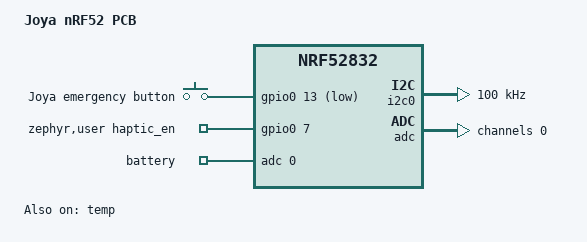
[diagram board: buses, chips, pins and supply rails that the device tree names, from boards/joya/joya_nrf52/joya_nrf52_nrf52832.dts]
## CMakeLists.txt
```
cmake_minimum_required(VERSION 3.20.0)

list(APPEND BOARD_ROOT ${CMAKE_CURRENT_SOURCE_DIR})

# Inicialize Zephyr build system
find_package(Zephyr REQUIRED HINTS $ENV{ZEPHYR_BASE})

# Project name and version
project(
    joya_phone_connection_fw
    VERSION 2.0
    DESCRIPTION "Firmware for Joya controller with modular architecture"
)

# Source files for the application
target_sources(app PRIVATE 
    src/main.c
    src/app_comm.c
    src/app_state.c
    src/ble_driver.c
    src/button.c
    src/haptics.c
    src/flash_memory.c
    src/battery.c
)

# Include directories for the application
target_include_directories(app PRIVATE include)
```

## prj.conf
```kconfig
# ==================================================
# GPIO CORE
# ==================================================
CONFIG_GPIO=y
CONFIG_ADC=y

# ==================================================
# I2C CORE
# ==================================================
CONFIG_I2C=y

# ==================================================
# LOGGING / CONSOLE DISABLED
# ==================================================
CONFIG_LOG=n
CONFIG_PRINTK=n
CONFIG_CONSOLE=n
CONFIG_EARLY_CONSOLE=n
CONFIG_BOOT_BANNER=n

CONFIG_UART_CONSOLE=n
CONFIG_RTT_CONSOLE=n

CONFIG_LOG_BACKEND_RTT=n
CONFIG_LOG_BACKEND_UART=n

# ==================================================
# MANUAL SEGGER RTT DEBUG ONLY
# ==================================================
CONFIG_USE_SEGGER_RTT=n
CONFIG_SEGGER_RTT_MODE_NO_BLOCK_SKIP=n
CONFIG_SEGGER_RTT_INIT_MODE_ALWAYS=n

# ==================================================
# Stacks
# ==================================================
CONFIG_MAIN_STACK_SIZE=4096
CONFIG_SYSTEM_WORKQUEUE_STACK_SIZE=4096


# ==================================================
# BLUETOOTH CORE
# ==================================================
CONFIG_BT=y
CONFIG_BT_PERIPHERAL=y

# Nombre base por defecto
CONFIG_BT_DEVICE_NAME="Joya"

# Habilitar la capacidad de cambiar el nombre dinámicamente
CONFIG_BT_DEVICE_NAME_DYNAMIC=y
CONFIG_BT_DEVICE_NAME_MAX=32

CONFIG_BT_MAX_CONN=1

# For debug
CONFIG_BT_GAP_PERIPHERAL_PREF_PARAMS=y
CONFIG_BT_PERIPHERAL_PREF_MIN_INT=36      
# 45 ms - apple pide >= 15 ms, < 2 s (unidades de 1.25 ms)
CONFIG_BT_PERIPHERAL_PREF_MAX_INT=72      
# 90 ms - apple pide <= 2 segundos
CONFIG_BT_PERIPHERAL_PREF_LATENCY=4       
# apple pide <= 30
CONFIG_BT_PERIPHERAL_PREF_TIMEOUT=600     
# 6 s - apple pide entre 6 y 18 segundos (unidades de 10 ms)

# ==================================================
# FOR FLASH STORAGE
# ==================================================
CONFIG_FLASH=y
CONFIG_FLASH_MAP=y
CONFIG_FLASH_PAGE_LAYOUT=y
CONFIG_NVS=y

CONFIG_SETTINGS=y
CONFIG_SETTINGS_NVS=y

#CONFIG_ARM_MPU=y
CONFIG_MPU_ALLOW_FLASH_WRITE=y

# ==================================================
# MCUboot / OTA por Bluetooth
# ==================================================
CONFIG_BOOTLOADER_MCUBOOT=y

CONFIG_FLASH=y
CONFIG_FLASH_MAP=y
CONFIG_STREAM_FLASH=y
CONFIG_IMG_MANAGER=y

CONFIG_NET_BUF=y
CONFIG_ZCBOR=y
CONFIG_CRC=y

CONFIG_MCUMGR=y
CONFIG_MCUMGR_GRP_IMG=y
CONFIG_MCUMGR_GRP_OS=y
CONFIG_MCUMGR_TRANSPORT_BT=y
CONFIG_MCUMGR_GRP_IMG_SLOT_INFO=y

#CONFIG_LOG=y
#CONFIG_MCUMGR_GRP_IMG_LOG_LEVEL_DBG=y

#CONFIG_USE_SEGGER_RTT=y
#CONFIG_LOG_BACKEND_RTT=y

CONFIG_BT_L2CAP_TX_MTU=247
CONFIG_BT_BUF_ACL_RX_SIZE=251
CONFIG_BT_BUF_ACL_TX_SIZE=251
CONFIG_BT_CTLR_DATA_LENGTH_MAX=251
CONFIG_BT_BUF_ACL_TX_COUNT=3

# Test with internal RC
CONFIG_CLOCK_CONTROL_NRF_K32SRC_RC=y
CONFIG_CLOCK_CONTROL_NRF_K32SRC_XTAL=n
CONFIG_CLOCK_CONTROL_NRF_K32SRC_500PPM=y

# Power
CONFIG_PM_DEVICE=y
```

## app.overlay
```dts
#include <zephyr/dt-bindings/gpio/gpio.h>
#include <zephyr/dt-bindings/i2c/i2c.h>
#include <zephyr/dt-bindings/pinctrl/nrf-pinctrl.h>

/ {
	zephyr,user {
		button_gpios = <&gpio0 24 (GPIO_PULL_UP | GPIO_ACTIVE_LOW)>;
		haptic_en_gpios = <&gpio0 7 GPIO_ACTIVE_HIGH>;
	};
};

&pinctrl {
	i2c0_default: i2c0_default {
		group1 {
			psels = <NRF_PSEL(TWIM_SDA, 0, 8)>,
				<NRF_PSEL(TWIM_SCL, 0, 6)>;
		};
	};

	i2c0_sleep: i2c0_sleep {
		group1 {
			psels = <NRF_PSEL(TWIM_SDA, 0, 8)>,
				<NRF_PSEL(TWIM_SCL, 0, 6)>;
			low-power-enable;
		};
	};
};

&i2c0 {
	status = "okay";
	clock-frequency = <I2C_BITRATE_STANDARD>;
	pinctrl-0 = <&i2c0_default>;
	pinctrl-1 = <&i2c0_sleep>;
	pinctrl-names = "default", "sleep";
};

&uart0 {
	status = "disabled";
};
```

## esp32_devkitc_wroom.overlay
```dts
/ {
    aliases {
        boton-emergencia = &boton_esp;
    };

    /* Define button node */
    botones_joya {
        compatible = "gpio-keys";

        boton_esp: boton_0 {
            gpios = <&gpio0 0 (GPIO_PULL_UP | GPIO_ACTIVE_LOW)>;
            label = "Test Button ESP32";
        };
    };

    /* For printk */
    chosen {
        zephyr,console = &uart0;
        zephyr,shell-uart = &uart0;
    };
};

/* Serial port 0 - 115200 */
&uart0 {
    status = "okay";
    current-speed = <115200>;
};
```

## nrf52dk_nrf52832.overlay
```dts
#include <zephyr/dt-bindings/gpio/gpio.h>
#include <zephyr/dt-bindings/i2c/i2c.h>
#include <zephyr/dt-bindings/pinctrl/nrf-pinctrl.h>

/ {
	/*
 	* NOTE:
 	* This configuration uses the nRF52 DK user button (P0.13).
 	* When running on the target hardware, replace the GPIO
 	* below with the pin connected to the emergency button.
 	*/

	joya_buttons {
		compatible = "gpio-keys";

		emergency_button: emergency_button {
			gpios = <&gpio0 14 (GPIO_PULL_UP | GPIO_ACTIVE_LOW)>;
			label = "Joya emergency button";
			zephyr,code = <INPUT_KEY_0>;
		};
	};

	zephyr,user {
		haptic_en_gpios = <&gpio0 7 GPIO_ACTIVE_HIGH>;
	};

	aliases {
		boton-emergencia = &emergency_button;
	};
};

&pinctrl {
	i2c0_default: i2c0_default {
		group1 {
			psels = <NRF_PSEL(TWIM_SDA, 0, 8)>,
				<NRF_PSEL(TWIM_SCL, 0, 6)>;
		};
	};

	i2c0_sleep: i2c0_sleep {
		group1 {
			psels = <NRF_PSEL(TWIM_SDA, 0, 8)>,
				<NRF_PSEL(TWIM_SCL, 0, 6)>;
			low-power-enable;
		};
	};
};

&i2c0 {
	status = "okay";
	clock-frequency = <I2C_BITRATE_STANDARD>;
	pinctrl-0 = <&i2c0_default>;
	pinctrl-1 = <&i2c0_sleep>;
	pinctrl-names = "default", "sleep";
};

&uart0 {
	status = "disabled";
};

&uicr {
    /delete-property/ gpio-as-nreset;
};
```

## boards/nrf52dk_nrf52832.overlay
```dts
#include <zephyr/dt-bindings/gpio/gpio.h>
#include <zephyr/dt-bindings/i2c/i2c.h>
#include <zephyr/dt-bindings/pinctrl/nrf-pinctrl.h>

/ {
	zephyr,user {
		button-gpios = <&gpio0 24 (GPIO_PULL_UP | GPIO_ACTIVE_LOW)>;
		haptic_en-gpios = <&gpio0 7 GPIO_ACTIVE_HIGH>;
	};
};

&pinctrl {
	i2c0_default: i2c0_default {
		group1 {
			psels = <NRF_PSEL(TWIM_SDA, 0, 8)>,
				<NRF_PSEL(TWIM_SCL, 0, 6)>;
		};
	};

	i2c0_sleep: i2c0_sleep {
		group1 {
			psels = <NRF_PSEL(TWIM_SDA, 0, 8)>,
				<NRF_PSEL(TWIM_SCL, 0, 6)>;
			low-power-enable;
		};
	};
};

&i2c0 {
	status = "okay";
	clock-frequency = <I2C_BITRATE_STANDARD>;
	pinctrl-0 = <&i2c0_default>;
	pinctrl-1 = <&i2c0_sleep>;
	pinctrl-names = "default", "sleep";

	/* (to do) add haptic driver */
};

&uart0 {
	status = "disabled";
};

// Just for solve the warning of using GPIO0_24
&spi2 {
        status = "disabled";
};
```

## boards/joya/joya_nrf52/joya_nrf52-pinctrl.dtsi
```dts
#include <zephyr/dt-bindings/pinctrl/nrf-pinctrl.h>

&pinctrl {
	i2c0_default: i2c0_default {
		group1 {
			psels = <NRF_PSEL(TWIM_SDA, 0, 8)>,
				<NRF_PSEL(TWIM_SCL, 0, 6)>;

			// Remove internal pull-up resistor
		};
	};

	i2c0_sleep: i2c0_sleep {
		group1 {
			psels = <NRF_PSEL(TWIM_SDA, 0, 8)>,
				<NRF_PSEL(TWIM_SCL, 0, 6)>;
			low-power-enable;
		};
	};
};
```

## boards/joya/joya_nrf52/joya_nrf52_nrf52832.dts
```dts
/dts-v1/;

#include <nordic/nrf52832_qfaa.dtsi>

#include <zephyr/dt-bindings/gpio/gpio.h>
#include <zephyr/dt-bindings/i2c/i2c.h>
#include <zephyr/dt-bindings/adc/adc.h>
#include <zephyr/dt-bindings/adc/nrf-adc.h>

#include "joya_nrf52-pinctrl.dtsi"

/ {
	model = "Joya nRF52 PCB";
	compatible = "joya,joya-nrf52";

	chosen {
		zephyr,sram = &sram0;
		zephyr,flash = &flash0;
		zephyr,code-partition = &slot0_partition;
		zephyr,settings-partition = &storage_partition;
	};

	joya_buttons {
		compatible = "gpio-keys";

		// 13
		emergency_button: emergency_button {
			gpios = <&gpio0 13 (GPIO_PULL_UP | GPIO_ACTIVE_LOW)>;
			label = "Joya emergency button";
			zephyr,code = <0>;
		};
	};

	zephyr,user {
		haptic_en_gpios = <&gpio0 7 GPIO_ACTIVE_HIGH>;
		io-channels = <&adc 0>;
		io-channel-names = "battery";
	};

	aliases {
		boton-emergencia = &emergency_button;
		sw0 = &emergency_button;
	};
};

&flash0 {
    partitions {
        compatible = "fixed-partitions";
        #address-cells = <1>;
        #size-cells = <1>;

        boot_partition: partition@0 {
            label = "mcuboot";
            reg = <0x00000000 0x0000c000>;
        };

        slot0_partition: partition@c000 {
            label = "image-0";
            reg = <0x0000c000 0x00037000>;
        };

        slot1_partition: partition@43000 {
            label = "image-1";
            reg = <0x00043000 0x00037000>;
        };

        storage_partition: partition@7a000 {
            label = "storage";
            reg = <0x0007a000 0x00006000>;
        };
    };
};

&gpio0 {
	status = "okay";
};

&gpiote {
	status = "okay";
};

&i2c0 {
	status = "okay";
	clock-frequency = <I2C_BITRATE_STANDARD>;
	pinctrl-0 = <&i2c0_default>;
	pinctrl-1 = <&i2c0_sleep>;
	pinctrl-names = "default", "sleep";
};

&i2c1 {
	status = "disabled";
};

&uart0 {
	status = "disabled";
};

&spi0 {
	status = "disabled";
};

&spi1 {
	status = "disabled";
};

&adc {
	status = "okay";
	#address-cells = <1>;
	#size-cells = <0>;

	channel@0 {
		reg = <0>;
		zephyr,gain = "ADC_GAIN_1_3";
		zephyr,reference = "ADC_REF_INTERNAL";
		zephyr,acquisition-time = <ADC_ACQ_TIME(ADC_ACQ_TIME_MICROSECONDS, 40)>;
		zephyr,input-positive = <NRF_SAADC_AIN7>;
		zephyr,resolution = <12>;
	};
};

&temp {
	status = "okay";
};
```

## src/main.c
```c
#include <zephyr/kernel.h>
#include <zephyr/dfu/mcuboot.h>
#include "button.h"
#include "app_state.h"
#include "battery.h"

int main(void) {
    bool ota_test_boot = !boot_is_img_confirmed();

    int ret ;
    ret = storage_init();
    if (ret != 0) {
        // Storage initialization failed - continuing with RAM defaults
    }
    
    ret = ble_driver_init();
    if (ret) {
        // BLE driver initialization failed
        return -1;
    }

    if (ota_test_boot) {
        ble_start_setup_advertising(true);
    }
    
    ret = button_init();
    if (ret != 0) {
        // Button initialization failed
        return -1;
    }


    ret = haptics_init();
    if (ret < 0) {
        // LOG: Haptics initialization failed - continuing without haptics
        // (improvement): decide what to do if haptics initialization fails (e.g., retry, log error, etc.)
    } 
    
    /*else {
         * Non-blocking startup check. If the haptic controller was detected,
         * schedule one short existing pattern without delaying BLE or OTA.
         
        haptics_play(HAPTICS_PATTERN_ACK_CONNECTION);
    }
    */

    ret = battery_init();
    if (ret == 0) {
        ret = battery_monitor_start();
    }
    
    // LOG: Initialization complete


    // Keep the main thread alive
    k_sleep(K_FOREVER);
}
```

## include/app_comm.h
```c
#ifndef APP_COMM_H
#define APP_COMM_H

#include <stdint.h>
#include <stddef.h>
#include <sys/types.h>
#include <zephyr/bluetooth/conn.h>
#include <zephyr/bluetooth/gatt.h>
#include "app_state.h"

#define SIZE_APP_ID 16

/**
 * @brief Save the received application identifier.
 * @return 0 on success, non-zero on failure.
 */
int save_received_app_id(void);

/**
 * @brief Compare the saved application identifier with the received identifier.
 * @param saved_app_id Pointer to the saved application identifier to compare.
 * @return 0 if the identifiers match, or a non-zero value otherwise.
 */
int check_app_id(const uint8_t *saved_app_id);

/**
 * @brief Handle CCC (Client Characteristic Configuration) changes.
 * @param attr The GATT attribute.
 * @param value The new CCC value.
 */
void on_ccc_changed_handler(const struct bt_gatt_attr *attr, uint16_t value);

/**
 * @brief Handle writes to the RX characteristic.
 * @param conn The Bluetooth connection.
 * @param attr The GATT attribute.
 * @param buf Buffer containing the received data.
 * @param len Length of the received data.
 * @param offset Offset of the received data.
 * @param flags Write flags.
 * @return The number of bytes processed, or a GATT error.
 */
ssize_t on_rx_write_handler(struct bt_conn *conn, const struct bt_gatt_attr *attr, const void *buf, uint16_t len, uint16_t offset, uint8_t flags);

/**
 * @brief Handle BLE connection events.
 * @param conn The Bluetooth connection.
 * @param err Connection error code.
 */
void on_connected_handler(struct bt_conn *conn, uint8_t err);

/**
 * @brief Handle BLE disconnection events.
 * @param conn The Bluetooth connection.
 * @param reason Disconnection reason code.
 */
void on_disconnected_handler(struct bt_conn *conn, uint8_t reason);

/**
 * @brief Handle writes to the RX authentication characteristic.
 * @param conn The Bluetooth connection.
 * @param attr The GATT attribute.
 * @param buf Buffer containing the received application identifier.
 * @param len Length of the received data.
 * @param offset Offset of the received data.
 * @param flags Write flags.
 * @return The number of bytes processed, or a GATT error.
 */
ssize_t on_rx_auth_write_handler(struct bt_conn *conn, const struct bt_gatt_attr *attr, const void *buf, uint16_t len, uint16_t offset, uint8_t flags);

/** @brief Application command enumeration. 
*/
enum {
    INIT_JOYA_COMMAND = 0x01,
    COMMAND_ROUTINE = 0x02,
    COMMAND_END_ROUTINE = 0x03,
    COMMAND_EMERGENCY = 0x04,
    COMMAND_ACK = 0x05,
    COMMAND_NACK = 0x06,
    LOW_BATTERY_LEVEL_1 = 0x07,
    LOW_BATTERY_LEVEL_2 = 0x08,
    BATTERY_NORMAL = 0x09,
    END_JOYA_COMMAND = 0x0A,

    INIT_APP_COMMAND = 0x40,
    COMMAND_ACK_EMERGENCY = 0x41,
    COMMAND_STOP_EMERGENCY = 0x42,
    COMMAND_FOLLOW_ME = 0x43,
    COMMAND_FRIEND_EMERGENCY = 0x44,
    COMMAND_FRIEND_STOP_EMERGENCY = 0x45,
    END_APP_COMMAND = 0x46,
};

#endif
```

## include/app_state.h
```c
#ifndef APP_STATE_H
#define APP_STATE_H

#include "ble_driver.h"
#include "app_comm.h"
#include "flash_memory.h"
#include "haptics.h"

#include <stdbool.h>
#include <stdint.h>
#include <zephyr/kernel.h>

#define EMERGENCY_RETRY_INITIAL_MS 1000
#define EMERGENCY_RETRY_FAST_MS 2000
#define EMERGENCY_RETRY_MEDIUM_MS 5000
#define EMERGENCY_RETRY_SLOW_MS 10000
#define EMERGENCY_RETRY_VERY_SLOW_MS 30000

#define BLE_SETUP_TIMEOUT_MS 90000

typedef enum {
    STATE_UNPAIRED,
    STATE_SETUP_MODE,
    STATE_SETUP_WAITING_IDENTIFIER,
    STATE_SETUP_WAITING_NEW_IDENTIFIER,
    STATE_WAITING_NOTIFICATION_ENABLE,
    STATE_BONDED_DISCONNECTED,
    STATE_AUTHENTICATED,
    STATE_EMERGENCY
} app_state_t;

typedef enum {
    // BUTTON EVENTS
    EV_BTN_1_PULSE,
    EV_BTN_2_PULSE,
    EV_BTN_LONG_PRESS,  
    EV_BTN_EMERGENCY,   
    EV_BTN_FACTORY_RESET,

    // JOYA EVENTS
    EV_APP_IDENTIFIER_RECEIVED,
    EV_EMERGENCY_RETRY,
    EV_BATTERY_LEVEL_1,
    EV_BATTERY_LEVEL_2,
    EV_BATTERY_NORMAL,
    
    // CONNECTION EVENTS
    EV_BLE_CONNECTED,
    EV_BLE_DISCONNECTED,
    EV_BLE_TIMEOUT,
    EV_BLE_NOTIFY_ENABLED,
    EV_APP_AUTHENTICATED,

    // APPLICATION EVENTS
    EV_APP_STOP_EMERGENCY,     
    EV_APP_FOLLOW_ME,
    EV_APP_ACK_EMERGENCY,
    EV_APP_FRIEND_EMERGENCY
} event_type_t;

/**
 * @brief Process an application event.
 * @param event The event to process.
 */
void process_event(event_type_t event);

/**
 * @brief Run the finite state machine thread loop.
 * This function initializes the work structures and enters the main event loop.
 */
void fsm_thread_loop(void);

/**
 * @brief Add an event to the event queue.
 * @param event The event to add.
 * @return 0 on success, or a negative error code on failure.
 */
int add_event(event_type_t event);

/**
 * @brief Get the current application state.
 * @return The current application state.
 */
app_state_t get_current_state(void);

#endif // APP_STATE_H
```

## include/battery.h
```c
#ifndef JOYA_BATTERY_H_
#define JOYA_BATTERY_H_

#include <stdint.h>

#define BATTERY_MONITOR_INTERVAL_MS 60000
#define BATTERY_VERIFY_INTERVAL_MS  10000
#define BATTERY_VERIFY_SAMPLES      6
#define BATTERY_VERIFY_MIN_VOTES    5

#define BATTERY_LEVEL_1_MV          3500
#define BATTERY_LEVEL_2_MV          3400

/* Para recuperarse, cada umbral exige superar su valor por este margen. */
#define BATTERY_HYSTERESIS_MV       50

/* Inicializar el canal SAADC antes de leer o iniciar el monitoreo. */
int battery_init(void);

/* Leer VBAT en milivoltios. Esta llamada espera a que termine una conversión. */
int battery_get_voltage_mv(int32_t *voltage_mv);

/* Programar la primera medición de inmediato y luego cada intervalo. */
int battery_monitor_start(void);
int battery_monitor_stop(void);

/* Devuelve -ENODATA hasta la primera medición periódica exitosa. */
int battery_get_last_voltage_mv(int32_t *voltage_mv);

#endif /* JOYA_BATTERY_H_ */
```

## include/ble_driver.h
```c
#ifndef BLE_DRIVER_H
#define BLE_DRIVER_H

#include <stdint.h>
#include <zephyr/kernel.h>
#include <zephyr/bluetooth/bluetooth.h>
#include <zephyr/bluetooth/uuid.h>
#include <zephyr/bluetooth/gatt.h>
#include "app_state.h"
#include "app_comm.h"

// --- UUIDs of JOYA custom service ---
// Main service UUID

#define BT_UUID_JOYA_SERVICE_VAL    BT_UUID_128_ENCODE(0xa407e00a, 0x00c1, 0x464d, 0x9173, 0x2cb8be585343)
#define BT_UUID_JOYA_TX_VAL         BT_UUID_128_ENCODE(0xa407e00a, 0x00c1, 0x464d, 0x9173, 0x2cb8be585344)
#define BT_UUID_JOYA_RX_VAL         BT_UUID_128_ENCODE(0xa407e00a, 0x00c1, 0x464d, 0x9173, 0x2cb8be585345)
#define BT_UUID_JOYA_RX_AUTH_VAL    BT_UUID_128_ENCODE(0xa407e00a, 0x00c1, 0x464d, 0x9173, 0x2cb8be585346)


/**
 * @brief Initialize the Bluetooth stack.
 * @return 0 on success, or a negative error code on failure.
 */
int ble_driver_init(void);

/**
 * @brief Send a secure event to the mobile app.
 * This function checks if the device is connected before sending the event.
 * @param event_byte The 1-byte code to send.
 * @return 0 on success, or a negative error code on failure.
 */
 /**
 * Note: only checks if the connection is active and notifications are enabled. It does not check if the app is authenticated. This responsability is delegated to the caller.
 */
int ble_send_event_secure(uint8_t event_byte);

/**
 * @brief Start advertising for a new connection or reconnection.
 * @param is_new_connection Set to true for new connections (JOYA SETUP), false for reconnections (JOYA).
 * @return 0 on success, or a negative error code on failure.
 */
int ble_start_setup_advertising(bool is_new_connection);


/**
 * @brief Stop any ongoing advertising.
 * @return 0 on success, or a negative error code on failure.
 */
int ble_stop_advertising(void);

/**
 * @brief Force a Bluetooth disconnection and stop advertising.
 * @return 0 on success, or a negative error code on failure.
 */
int ble_disconnect(void);

int ble_start_setup_advertising_backup(void);

#endif // BLE_DRIVER_H
```

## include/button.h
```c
#ifndef BUTTON_H
#define BUTTON_H

#include <stdint.h>
#include <zephyr/kernel.h>
#include <zephyr/device.h>
#include <zephyr/drivers/gpio.h>
#include "app_state.h"

extern struct k_msgq event_queue;

#define DEBOUNTE_TIME_MS 50
#define CLICK_WINDOW_MS 900
#define BUTTON_ROUTINE_CANCEL_HOLD_MS 500
#define BUTTON_FACTORY_RESET_HOLD_MS 15000

/**
 * @brief Initialize the button GPIO and interrupt handling.
 * @return 0 on success, or a negative error code on failure.
 */
int button_init(void);

/**
 * @brief Handle button GPIO interrupts.
 * @param dev GPIO device that generated the interrupt.
 * @param cb GPIO callback data.
 * @param pins GPIO pins that generated the interrupt.
 */
void button_isr_handler(const struct device *dev, struct gpio_callback *cb, uint32_t pins);

#endif // BUTTON_H
```

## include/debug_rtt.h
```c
#pragma once

#include <zephyr/kernel.h>

#if IS_ENABLED(CONFIG_USE_SEGGER_RTT)
#include <SEGGER_RTT.h>

static inline void dbg_rtt_mark(const char *msg)
{
    SEGGER_RTT_WriteString(0, msg);
}

#else

static inline void dbg_rtt_mark(const char *msg)
{
    ARG_UNUSED(msg);
}

#endif
```

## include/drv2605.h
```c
#ifndef DRV2605_H
#define DRV2605_H

#include <stdbool.h>
#include <stdint.h>

/**
 * @brief Initialize the DRV2605 controller.
 * @return 0 on success, or a negative error code on failure.
 */
int drv2605_init(void);

/**
 * @brief Set real-time playback mode and apply an amplitude.
 * @param amplitude Real-time playback amplitude to apply.
 * @return 0 on success, or a negative error code on failure.
 */
int drv2605_set_rtp(uint8_t amplitude);

/**
 * @brief Stop real-time playback and return to internal trigger mode.
 * @return 0 on success, or a negative error code on failure.
 */
int drv2605_stop(void);

/**
 * @brief Check whether the DRV2605 was initialized successfully.
 * @return true if the controller is ready, otherwise false.
 */
bool drv2605_is_ready(void);

#endif /* DRV2605_H */
```

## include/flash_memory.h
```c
#ifndef FLASH_MEMORY_H
#define FLASH_MEMORY_H

#include <zephyr/settings/settings.h>
#include <string.h>

#include "app_comm.h"

/**
 * @brief Initialize storage and load saved settings.
 * @return 0 on success, or a non-zero value on failure.
 */
int storage_init(void);

/**
 * @brief Save the application identifier to storage.
 * @param new_app_id Pointer to the application identifier buffer.
 * @return 0 on success, or a non-zero value on failure.
 */
int storage_save_app_id(const uint8_t* new_app_id);

/**
 * @brief Clear stored application data and reset cached values.
 * @return 0 on success, or a non-zero value on failure.
 */
int storage_factory_reset(void);

/**
 * @brief Save the emergency state to storage.
 * @param is_active true if emergency mode is active, false otherwise.
 * @return 0 on success, or a non-zero value on failure.
 */
int storage_save_emergency_state(bool is_active);

/**
 * @brief Check whether emergency mode is active.
 * @return true if emergency mode is active, false otherwise.
 */
bool is_in_emergency(void);

/**
 * @brief Check whether the application identifier is empty.
 * @return true if the application identifier is empty, false otherwise.
 */
bool is_app_id_empty(void);

/**
 * @brief Get the stored application identifier.
 * @return Pointer to the application identifier buffer.
 */
const uint8_t* storage_get_app_id(void);

#endif
```

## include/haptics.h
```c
#ifndef HAPTICS_H
#define HAPTICS_H

#include <zephyr/device.h>
#include <zephyr/drivers/gpio.h>
#include <zephyr/drivers/i2c.h>
#include <zephyr/kernel.h>
#include <errno.h>

#define DRV2605_I2C_ADDR_LOW			0x5A
#define DRV2605_I2C_ADDR_HIGH			0x5B

#define DRV2605_REG_STATUS				0x00
#define DRV2605_REG_MODE				0x01
#define DRV2605_REG_RTP_INPUT			0x02
#define DRV2605_REG_LIBRARY				0x03
#define DRV2605_REG_WAVESEQ1			0x04
#define DRV2605_REG_WAVESEQ2			0x05
#define DRV2605_REG_GO					0x0C

#define DRV2605_MODE_INTERNAL_TRIGGER	0x00
#define DRV2605_MODE_RTP				0x05
#define DRV2605_MODE_STANDBY			0x40

#define HAPTIC_RTP_OFF					0
#define HAPTIC_RTP_MAX					127

// Adaptación nuevo motor
#define DRV2605_REG_OD_CLAMP    		0x17
#define DRV2605_OD_CLAMP_2V5   			0x72
// OD_CLAMP = V_RATED/0.02196 = 2.5/0.02196 = 113.8 approx 0x72

#define HAPTIC_RTP_INTENSITY   			122
#define DRV2605_REG_FEEDBACK_CONTROL   0x1A
#define DRV2605_REG_CONTROL3           0x1D

#define DRV2605_N_ERM_LRA             BIT(7)
#define DRV2605_ERM_OPEN_LOOP         BIT(5)
#define DRV2605_DATA_FORMAT_RTP       BIT(3)

enum haptics_pattern {
	HAPTICS_PATTERN_NONE = 0,
	HAPTICS_PATTERN_SETUP_MODE,
	HAPTICS_PATTERN_ROUTINE_START,
	HAPTICS_PATTERN_ROUTINE_CANCEL,
	HAPTICS_PATTERN_EMERGENCY_START,
	HAPTICS_PATTERN_FOLLOW_ME,
    HAPTICS_PATTERN_FRIEND_EMERGENCY,
	HAPTICS_PATTERN_FACTORY_RESET,
	HAPTICS_PATTERN_ACK_CONNECTION,
};

enum haptics_effect {
    HAPTICS_EFFECT_AUTH = 0x01,
    HAPTICS_EFFECT_RESET = 0x2F,
};

/**
 * @brief Initialize the haptic driver.
 * @return 0 on success, or a negative error code on failure.
 */
int haptics_init(void);

/**
 * @brief Stop the active haptic pattern or effect.
 */
void haptics_stop(void);

/**
 * @brief Check whether the haptic driver is ready.
 * @return true if the haptic driver is ready, false otherwise.
 */
bool haptics_is_ready(void);

/**
 * @brief Play a haptic pattern.
 * @param pattern The haptic pattern to play.
 */
void haptics_play(enum haptics_pattern pattern);

/**
 * @brief Play one haptic effect.
 * @param effect The haptic effect to play.
 */
void haptics_play_effect(enum haptics_effect effect);

#endif /* HAPTICS_H */
```

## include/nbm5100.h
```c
#ifndef NBM5100_H
#define NBM5100_H

#include <stdbool.h>
#include <stdint.h>

#define NBM5100_I2C_MAX_RETRIES   3
#define NBM5100_I2C_RETRY_DELAY_MS 2

#define NBM5100_I2C_ADDR 0x2E

/* Register map */
#define NBM5100_REG_STATUS        0x00
#define NBM5100_REG_CHENGY_MSB    0x01
#define NBM5100_REG_CHENGY_2      0x02
#define NBM5100_REG_CHENGY_1      0x03
#define NBM5100_REG_CHENGY_LSB    0x04
#define NBM5100_REG_VCAP          0x05
#define NBM5100_REG_VCHEND        0x06
#define NBM5100_REG_PROFILE       0x07
#define NBM5100_REG_COMMAND       0x08
#define NBM5100_REG_SET1          0x09
#define NBM5100_REG_SET2          0x0A
#define NBM5100_REG_SET3          0x0B
#define NBM5100_REG_SET4          0x0C
#define NBM5100_REG_SET5          0x0D

/* Field masks */
#define NBM5100_SET1_VSET_MASK    GENMASK(3, 0)
#define NBM5100_SET1_VFIX_MASK    GENMASK(7, 4)

#define NBM5100_SET2_VMIN_MASK    GENMASK(2, 0)
#define NBM5100_SET2_ICH_MASK     GENMASK(7, 5)

/* Bit definitions */
#define NBM5100_SET2_VDHHIZ       BIT(4)
#define NBM5100_SET3_AUTOMODE     BIT(7)

#define NBM5100_CMD_EOD           BIT(0)
#define NBM5100_CMD_ECM           BIT(1)
#define NBM5100_CMD_ACT           BIT(2)

/* Configuration values */
#define NBM5100_VSET_3V4          0x0D
#define NBM5100_VFIX_3V84         0x07
#define NBM5100_VMIN_3V2          0x04
#define NBM5100_ICH_4MA           0x04

/* Specification values 
    * VSET/VDH: 3.4V
    * VFIX: 3.84V
    * VMIN: 3.2V
    * ICH: 4mA (possible: 6 mA)
    * VDHIZ: 0 (VDHIZ disabled)
    * OPTIMIZER: disabled
    * AUTOMODE: disabled
    * MODE: Continuous

*/

int nbm5100_init(void);

int nbm5100_read_reg(uint8_t reg, uint8_t *value);
int nbm5100_write_reg(uint8_t reg, uint8_t value);
int nbm_ready_init(void);
bool is_nbm_ready(void);
int nbm5100_set_active(bool active);


#endif /* NBM5100_H */
```

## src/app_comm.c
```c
#include "app_comm.h"

uint8_t received_app_id[SIZE_APP_ID] = {0};
/**
 * BLE CALLBACKS
 */
void on_ccc_changed_handler(const struct bt_gatt_attr *attr, uint16_t value) {
    if(value == BT_GATT_CCC_NOTIFY){
        add_event(EV_BLE_NOTIFY_ENABLED);
    } else {
        // (improvement): handle notification disabled event if needed
    }
    return;
}

ssize_t on_rx_write_handler(struct bt_conn *conn, const struct bt_gatt_attr *attr,
                           const void *buf, uint16_t len, uint16_t offset, uint8_t flags){

    // Note: the protocol expects one complete command per BLE write.
    if (offset != 0) {
        return BT_GATT_ERR(BT_ATT_ERR_INVALID_OFFSET);
    }

    if (len != 1) {
        return BT_GATT_ERR(BT_ATT_ERR_INVALID_ATTRIBUTE_LEN);
    }

    uint8_t val = ((uint8_t *)buf)[0];

    event_type_t ev;
    if (val == COMMAND_STOP_EMERGENCY) {
        ev = EV_APP_STOP_EMERGENCY;
        add_event(ev);
    } else if (val == COMMAND_ACK_EMERGENCY) {
        ev = EV_APP_ACK_EMERGENCY;
        add_event(ev);
    } else if (val == COMMAND_FOLLOW_ME) {
        ev = EV_APP_FOLLOW_ME;
        add_event(ev);
    } else if (val == COMMAND_FRIEND_EMERGENCY) {
        ev = EV_APP_FRIEND_EMERGENCY;
        add_event(ev);
    } else {
        // (improvement): handle unknown command if needed
    }
    
    return len;
}

ssize_t on_rx_auth_write_handler(struct bt_conn *conn, const struct bt_gatt_attr *attr, const void *buf, uint16_t len, uint16_t offset, uint8_t flags)
{
    // Note: APP_ID must be sent in a single BLE write; fragmented writes are not supported.
    if (offset != 0) {
        return BT_GATT_ERR(BT_ATT_ERR_INVALID_OFFSET);
    }
    if (len != SIZE_APP_ID) {
        return BT_GATT_ERR(BT_ATT_ERR_INVALID_ATTRIBUTE_LEN);
    }

    memcpy(received_app_id, buf, SIZE_APP_ID);

    add_event(EV_APP_IDENTIFIER_RECEIVED);
    
    return len;
}

void on_connected_handler(struct bt_conn *conn, uint8_t err) {
    event_type_t ev = EV_BLE_CONNECTED;
    add_event(ev);
}
    
void on_disconnected_handler(struct bt_conn *conn, uint8_t reason) {
    event_type_t ev = EV_BLE_DISCONNECTED;
    add_event(ev);
}

int check_app_id(const uint8_t *app_id) {
    return memcmp(received_app_id, app_id, SIZE_APP_ID);
}

int save_received_app_id(void){
    int ret = storage_save_app_id(received_app_id);
    if (ret != 0) {
        // LOG: Failed to save received APP_ID - continuing without saving
    }
    memset(received_app_id, 0, SIZE_APP_ID);
    return ret;
}
```

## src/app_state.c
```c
#include "app_state.h"

/** @brief Array of retry intervals for emergency events in milliseconds */
const uint32_t EMERGENCY_RETRY_MS[] = {EMERGENCY_RETRY_INITIAL_MS, EMERGENCY_RETRY_FAST_MS, EMERGENCY_RETRY_MEDIUM_MS, EMERGENCY_RETRY_SLOW_MS, EMERGENCY_RETRY_VERY_SLOW_MS};
/** @brief Current index for emergency retry intervals */
uint8_t current_retry_index = 0;

static struct k_work_delayable connection_timeout_work;
static struct k_work_delayable emergency_retry_work;

/** @brief Current application state */
static volatile app_state_t current_state = STATE_UNPAIRED;
/** @brief Message queue for events */
K_MSGQ_DEFINE(event_queue, sizeof(event_type_t), 20, 4);

/** @brief Thread for the finite state machine */
K_THREAD_DEFINE(fsm_thread_id, 4098, fsm_thread_loop, NULL, NULL, NULL, 5, 0, 0);

static bool emergency_alerts_active = false;

/**
 * PRIVATE FUNCTIONS
 */

/** @brief Increment the emergency retry index */
void increment_emergency_retry_index(void) {
    if (current_retry_index < sizeof(EMERGENCY_RETRY_MS)/sizeof(EMERGENCY_RETRY_MS[0]) - 1) {
        current_retry_index++;
    }
}

/** @brief Reset the emergency retry index */
/*
 * Improvement: route emergency retry work through the FSM to avoid shared state between workqueue and process_event().
 */
void reset_emergency_retry_index(void) {
    current_retry_index = 0;
}

static void emergency_stop_alerts(void)
{
    emergency_alerts_active = false;
    k_work_cancel_delayable(&emergency_retry_work);
    reset_emergency_retry_index();
}


/**
 * WORK HANDLERS
 */

static void emergency_schedule_next_retry(void)
{
    uint8_t idx = current_retry_index;

    k_work_reschedule(&emergency_retry_work,
                      K_MSEC(EMERGENCY_RETRY_MS[idx]));

    increment_emergency_retry_index();
}

static void emergency_restart_alerts(void)
{
    emergency_alerts_active = true;

    k_work_cancel_delayable(&emergency_retry_work);
    reset_emergency_retry_index();

    if (current_state != STATE_AUTHENTICATED) {
        return;
    }

    // LOG: Sending emergency event
    ble_send_event_secure(COMMAND_EMERGENCY);
    emergency_schedule_next_retry();
}

static void emergency_retry_work_handler(struct k_work *work)
{
    ARG_UNUSED(work);

    add_event(EV_EMERGENCY_RETRY);
}


/** @brief Work handler for connection timeout 
 * This function is called when the connection timeout work is executed. It adds a timeout event to the event queue.
*/
static void connection_timeout_work_handler(struct k_work *work) {
    event_type_t ev = EV_BLE_TIMEOUT;
    k_msgq_put(&event_queue, &ev, K_NO_WAIT);
}


/**
 * PUBLIC API
 */

app_state_t get_current_state(void) {
    return current_state;
}


int add_event(event_type_t event)
{
	int err = k_msgq_put(&event_queue, &event, K_NO_WAIT);
	return err;
}

void fsm_thread_loop(void) {
    k_work_init_delayable(&emergency_retry_work, emergency_retry_work_handler);
    k_work_init_delayable(&connection_timeout_work, connection_timeout_work_handler);

    event_type_t event;
    while (1) {
        k_msgq_get(&event_queue, &event, K_FOREVER);
        process_event(event);
    }
}

/*
 * Button gestures are detected only after firmware initialization.
 * A button press already active during boot is not considered a valid gesture.
 */
void process_event(event_type_t event) {
    int ret;

    switch (event) {
        case EV_BATTERY_LEVEL_2:
            // TO DO
        case EV_BATTERY_NORMAL:
            // TO DO
            break;
        default:
            break;
    }

    /*
     * Note: factory reset has a higher priority that everything else
     * to fulfill the requirement updated in previous conversation.
     * This is a point to consider in future updates
     */
    if (event == EV_BTN_FACTORY_RESET) {
        // LOG: Factory reset button pressed - resetting device
        current_state = STATE_UNPAIRED;
        ble_disconnect();
        ret = storage_factory_reset();
        emergency_stop_alerts();
        if(ret == 1) {
            // LOG: Flash write failed while resetting flash storage - reseting only RAM state
        }

        haptics_play(HAPTICS_PATTERN_FACTORY_RESET);
        return;
    }

    if (event == EV_BTN_EMERGENCY) {
        // LOG: Emergency button pressed
        ret = storage_save_emergency_state(true);
        if (ret == 1) {
            // LOG: Failed to save emergency state in flash - continuing without saving
        }

        haptics_play(HAPTICS_PATTERN_EMERGENCY_START);
        // Note: haptics effect will be played even if the secure channel is not ready, as a warning to the user.

        if (current_state == STATE_AUTHENTICATED) {
            // LOG: Sending emergency
            emergency_restart_alerts();
            return;
        }

        // LOG: Emergency button pressed but not authenticated - scheduling retry
        k_work_cancel_delayable(&emergency_retry_work);
        reset_emergency_retry_index();

        if (current_state == STATE_BONDED_DISCONNECTED) {
            ble_start_setup_advertising(false);
        } else if (current_state == STATE_UNPAIRED && !is_app_id_empty()) {
            current_state = STATE_BONDED_DISCONNECTED;
            ble_start_setup_advertising(false);
        } else if (current_state == STATE_UNPAIRED && is_app_id_empty()) {
            current_state = STATE_SETUP_MODE;
            ble_start_setup_advertising(true);
        }

        return;
    }

    /*
    * Note: Emergency can be triggered locally before the app is authenticated.
    * However, app-originated emergency commands are only accepted after the
    * secure channel is ready.
    */
    if (is_in_emergency()) {
        switch (event) {
            case EV_EMERGENCY_RETRY:
                if (!is_in_emergency()) {
                    return;
                }

                if (!emergency_alerts_active) {
                    return;
                }

                if (current_state != STATE_AUTHENTICATED) {
                    return;
                }

                // LOG: Retrying emergency event

                ret = ble_send_event_secure(COMMAND_EMERGENCY);
                if (ret != 0) {
                    // LOG: Failed to resend COMMAND_EMERGENCY - continuing
                }

                emergency_schedule_next_retry();
                return;

            case EV_APP_FOLLOW_ME:
                if (current_state != STATE_AUTHENTICATED) {
                    return;
                }
                ret = ble_send_event_secure(COMMAND_ACK);
                if(ret != 0){
                    // LOG: Failed to send ACK - continuing without sending
                }
                // LOG: Follow me event received
                haptics_play(HAPTICS_PATTERN_FOLLOW_ME);
                return;
            
            case EV_APP_ACK_EMERGENCY:
                if (current_state != STATE_AUTHENTICATED) {
                    // LOG: Acknowledgment received but not authenticated
                    return;
                }
                // LOG: Acknowledged emergency event received
                emergency_stop_alerts();
                ret = ble_send_event_secure(COMMAND_ACK);
                if(ret != 0){
                    // LOG: Failed to send ACK - continuing without sending
                }
                return;

            case EV_APP_STOP_EMERGENCY:
                if (current_state != STATE_AUTHENTICATED) {
                    // LOG: Stop emergency received but not authenticated
                    return;
                }
                // LOG: Stop emergency event received
                emergency_stop_alerts();
                ret = storage_save_emergency_state(false);
                if (ret == 1) {
                    // LOG: Failed to save emergency state in flash - continuing without saving
                }
                ret = ble_send_event_secure(COMMAND_ACK);
                if(ret != 0){
                    // LOG: Failed to send ACK - continuing without sending
                }
                return;

            case EV_BLE_TIMEOUT:
                // LOG: BLE timeout
                if (is_app_id_empty()) {
                    // LOG: No APP_ID stored - entering setup mode (starting ADV)
                    current_state = STATE_SETUP_MODE;
                    ble_start_setup_advertising(true);
                } else {
                    // LOG: APP_ID stored - entering bonded disconnected state (starting ADV)
                    current_state = STATE_BONDED_DISCONNECTED;
                    ble_start_setup_advertising(false);
                }

                return;

            case EV_BLE_DISCONNECTED:
                // LOG: BLE disconnected
                emergency_stop_alerts();

                if (is_app_id_empty()) {
                    // LOG: No APP_ID stored - entering setup mode (starting ADV)
                    current_state = STATE_SETUP_MODE;
                    ble_start_setup_advertising(true);
                } else {
                    // LOG: APP_ID stored - entering bonded disconnected state (starting ADV)
                    current_state = STATE_BONDED_DISCONNECTED;
                    ble_start_setup_advertising(false);
                }

                return;
            case EV_APP_AUTHENTICATED:
                /*
                * Authenticated again while emergency is still active:
                * restart the alert timing table and send immediately.
                */
                // LOG: App authenticated - restarting alerts
                current_state = STATE_AUTHENTICATED;
                emergency_restart_alerts();
                haptics_play(HAPTICS_PATTERN_EMERGENCY_START);

                return;

            case EV_BTN_1_PULSE:
            /* EV_BTN_2_PULSE is intentionally not ignored here,
            * allowing reconnection while an emergency is active.
            */
            case EV_BTN_LONG_PRESS:
            case EV_APP_FRIEND_EMERGENCY:
                // LOG: Ignoring event while emergency is active
                /*
                * Normal app actions are ignored while emergency is active.
                */
                return;

            default:
                // Keep processing other events that are not related to emergency
                break;
        }
    }

    switch (current_state) {
        case STATE_UNPAIRED:
            if (event == EV_BTN_2_PULSE) {
                // LOG: Entering setup mode (starting ADV)
                current_state = STATE_SETUP_MODE;
                haptics_play(HAPTICS_PATTERN_SETUP_MODE);
                ble_start_setup_advertising(is_app_id_empty());
                k_work_reschedule(&connection_timeout_work, K_MSEC(BLE_SETUP_TIMEOUT_MS)); 
            }
            break;

        case STATE_SETUP_MODE:
            if (event == EV_BLE_CONNECTED) {
                // LOG: BLE connected - waiting for notification enable
                k_work_cancel_delayable(&connection_timeout_work);
                current_state = STATE_WAITING_NOTIFICATION_ENABLE;
                ble_stop_advertising();

            } else if (event == EV_BLE_TIMEOUT) {
                // LOG: BLE setup timeout in setup mode - returning to unpaired state
                current_state = STATE_UNPAIRED;
                ble_stop_advertising();

            } else if (event == EV_BLE_DISCONNECTED) {
                // LOG: BLE disconnected in setup mode - returning to unpaired state
                k_work_cancel_delayable(&connection_timeout_work);
                current_state = STATE_UNPAIRED;
                ble_stop_advertising();
            }
            break;

        case STATE_WAITING_NOTIFICATION_ENABLE:
            /*
            * Protocol contract: the app must enable notifications before sending
            * APP_ID. Identifier events received in this state are intentionally not
            * handled; the app must resend APP_ID after the firmware reaches
            * STATE_SETUP_WAITING_IDENTIFIER.
            */
            if (event == EV_BLE_NOTIFY_ENABLED) {
                // LOG: Notifications enabled - waiting for APP_ID
                current_state = STATE_SETUP_WAITING_IDENTIFIER;
            } else if (event == EV_BLE_DISCONNECTED) {
                if(is_app_id_empty()){
                    // LOG: BLE disconnected in waiting notification enable state - returning to unpaired state
                    current_state = STATE_UNPAIRED;
                } else {
                    // LOG: BLE disconnected in waiting notification enable state - returning to bonded disconnected state (starting ADV)
                    current_state = STATE_BONDED_DISCONNECTED;
                    ble_start_setup_advertising(false);
                }
            }
            break;

        case STATE_SETUP_WAITING_IDENTIFIER:
            if(event == EV_APP_IDENTIFIER_RECEIVED){
                // LOG: APP_ID received - checking validity
                if(is_app_id_empty()){
                    // LOG: No APP_ID stored - saving new APP_ID
                    // New APP_ID
                    ret = save_received_app_id();
                    if(ret == 1) {
                        // LOG: Flash write failed while saving new APP_ID - continuing with RAM state
                    }
                    
                    // LOG: New APP_ID saved - sending ACK
                    current_state = STATE_AUTHENTICATED;
                    // It is safe to send because it is already authenticated
                    ret = ble_send_event_secure(COMMAND_ACK);
                    if(ret != 0){
                        // LOG: Failed to send ACK - continuing without sending
                    }

                    haptics_play(HAPTICS_PATTERN_ACK_CONNECTION);
                    add_event(EV_APP_AUTHENTICATED);
                    return;
                    
                } else {
                    // LOG: APP_ID already stored - checking if it matches received APP_ID
                    // Already have an APP_ID
                    if(check_app_id(storage_get_app_id()) == 0){
                        // LOG: APP_ID matches stored APP_ID - sending ACK
                        current_state = STATE_AUTHENTICATED;
                        ret = ble_send_event_secure(COMMAND_ACK);
                        if(ret != 0){
                            // LOG: Failed to send ACK - continuing without sending
                        }
                        add_event(EV_APP_AUTHENTICATED);
                        haptics_play(HAPTICS_PATTERN_ACK_CONNECTION);
                        return;
                    } else {
                        // LOG: APP_ID does not match stored APP_ID - sending NACK
                        // (improvement) max retry attempts? or just wait for the next connection?
                        ret = ble_send_event_secure(COMMAND_NACK);
                        if(ret != 0){
                            // LOG: Failed to send NACK - continuing without sending
                        }
                        return;
                    }
                }
            } else if(event == EV_BLE_DISCONNECTED){
                if(is_app_id_empty()){
                    // LOG: BLE disconnected while waiting for the new APP_ID - returning to unpaired state
                    current_state = STATE_UNPAIRED;
                } else {
                    // LOG: BLE disconnected while waiting for the saved APP_ID - returning to bonded disconnected state (starting ADV)
                    current_state = STATE_BONDED_DISCONNECTED;
                    ble_start_setup_advertising(false);
                }
            }
            break;

        case STATE_AUTHENTICATED:
            // On this state, the device is connected and authenticated with the app. It can send and receive events.
            if (event == EV_APP_FRIEND_EMERGENCY){
                // LOG: Friend emergency event received
                haptics_play(HAPTICS_PATTERN_FRIEND_EMERGENCY);
                ret = ble_send_event_secure(COMMAND_ACK);
                if(ret != 0){
                    // LOG: Failed to send ACK - continuing without sending
                }
            } else if (event == EV_BLE_DISCONNECTED) {
                // LOG: BLE disconnected - returning to bonded disconnected state (starting ADV)
                current_state = STATE_BONDED_DISCONNECTED;
                ble_start_setup_advertising(false);

            } else if (event == EV_BTN_1_PULSE) {
                // LOG: Routine start button pressed
                haptics_play(HAPTICS_PATTERN_ROUTINE_START);
                ret = ble_send_event_secure(COMMAND_ROUTINE);
                if (ret != 0) {
                    // LOG: Failed to send COMMAND_ROUTINE - continuing without sending
                }

            } else if (event == EV_BTN_LONG_PRESS) {
                // LOG: Routine cancel button pressed
                haptics_play(HAPTICS_PATTERN_ROUTINE_CANCEL);
                ret = ble_send_event_secure(COMMAND_END_ROUTINE);
                if (ret != 0) {
                    // LOG: Failed to send COMMAND_END_ROUTINE - continuing without sending
                }

            } else if (event == EV_BATTERY_LEVEL_1) {
                ret = ble_send_event_secure(LOW_BATTERY_LEVEL_1);
                if (ret != 0){
                    // LOG: Failed to send LOW_BATTERY_LEVEL_1 - continuing without sending
                }
            } else if (event == EV_BATTERY_LEVEL_2) {
                ret = ble_send_event_secure(LOW_BATTERY_LEVEL_2);
                if (ret != 0){
                    // LOG: Failed to send LOW_BATTERY_LEVEL_2 - continuing without sending
                }
            } else if (event == EV_BATTERY_NORMAL) {
                ret = ble_send_event_secure(BATTERY_NORMAL);
                if (ret != 0){
                    // LOG: Failed to send BATTERY_NORMAL - continuing without sending
                }
            }
            break;

        case STATE_BONDED_DISCONNECTED:
            if (event == EV_BLE_CONNECTED) {
                // LOG: BLE connected - waiting for notification enable
                current_state = STATE_WAITING_NOTIFICATION_ENABLE;
            } 
            break;

        default:
            // (for future use) Handle unexpected state
            break;
    }
}
```
